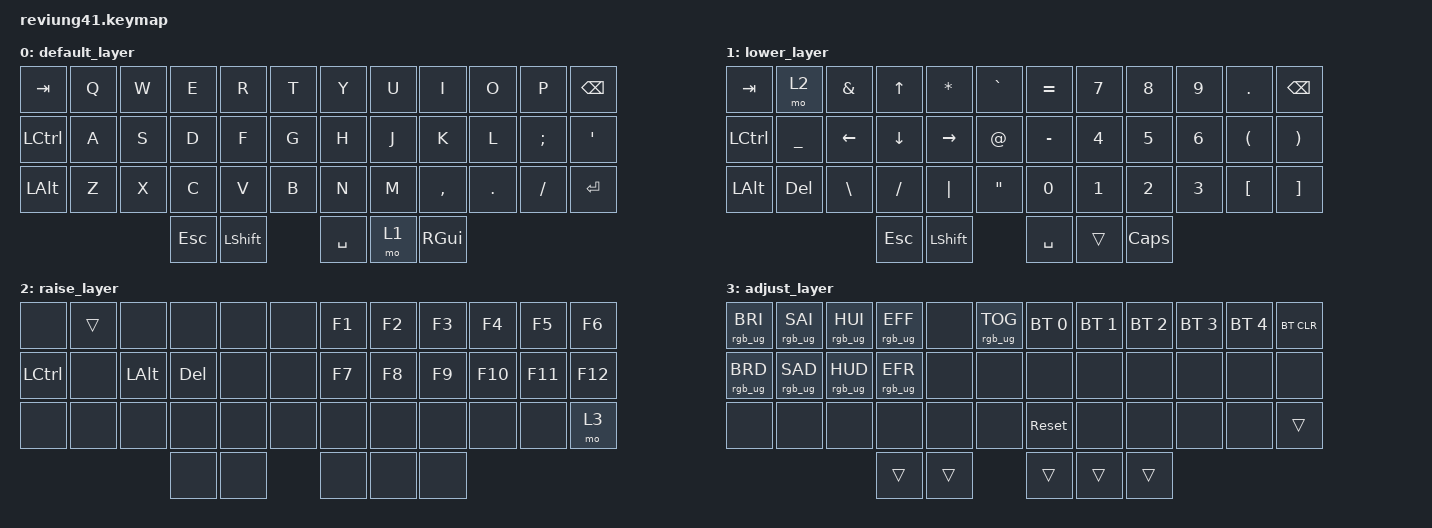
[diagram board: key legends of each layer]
/*
 * Copyright (c) 2020 The ZMK Contributors
 *
 * SPDX-License-Identifier: MIT
 */

#include <behaviors.dtsi>
#include <dt-bindings/zmk/keys.h>
#include <dt-bindings/zmk/bt.h>
#include <dt-bindings/zmk/rgb.h>

/ {
        keymap {
                compatible = "zmk,keymap";

                default_layer {
// -------------------------------------------------------------------------------------
// |  TAB |  Q  |  W  |  E  |  R  |  T  |   |  Y  |  U   |  I  |  O  |  P  |  BKSP  |
// | CTRL |  A  |  S  |  D  |  F  |  G  |   |  H  |  J   |  K  |  L  |  ;  |    '   |
// | SHFT |  Z  |  X  |  C  |  V  |  B  |   |  N  |  M   |  ,  |  .  |  /  |  ENTER |
//                        | ESC | SHFT | SPC | LWR  | WIN |
                        bindings = <
   &kp TAB   &kp Q &kp W &kp E &kp R &kp T   &kp Y &kp U  &kp I     &kp O   &kp P    &kp BSPC
   &kp LCTRL &kp A &kp S &kp D &kp F &kp G   &kp H &kp J  &kp K     &kp L   &kp SEMI &kp SQT
   &kp LALT  &kp Z &kp X &kp C &kp V &kp B   &kp N &kp M  &kp COMMA &kp DOT &kp FSLH &kp ENTER
                        &kp ESC &kp LSHFT &kp SPACE &mo 1  &kp RGUI
                        >;
                };

                lower_layer {
// ----------------------------------------------------------------------------------
// | TAB  | RSE |  &  |  UP |  *  |  ~  |   |  =  |  7  |  8  |  9  |  .  | BKSP |
// | CTRL |  _  | LFT | DWN | RGT |  @  |   |  -  |  4  |  5  |  6  |  (  |  )   |
// | ALT  | DEL |  \  |  /  | "|" |  "  |   |  0  |  1  |  2  |  3  |  [  |  ]   |
//                       | ESC  | SHFT | SPC |      | CAPS |
                        bindings = <
   &kp TAB   &mo 2     &kp AMPS &kp UP   &kp ASTRK &kp GRAVE    &kp EQUAL &kp N7  &kp N8 &kp N9 &kp DOT  &kp BSPC
   &kp LCTRL &kp UNDER &kp LEFT &kp DOWN &kp RIGHT &kp AT       &kp MINUS &kp N4  &kp N5 &kp N6 &kp LPAR &kp RPAR
   &kp LALT  &kp DEL   &kp BSLH &kp FSLH &kp PIPE  &kp DQT      &kp N0    &kp N1  &kp N2 &kp N3 &kp LBKT &kp RBKT
                                 &kp ESC   &kp LSHFT     &kp SPACE     &trans       &kp CAPS
                        >;
                };

                raise_layer {
// -----------------------------------------------------------------------------------------
// |      |    |     |     |     |     |   | F1  | F2  | F3  | F4  | F5  | F6  |
// | CTRL |    | ALT | DEL |     |     |   | F7  | F8  | F9  | F10 | F11 | F12 |
// |      |    |     |     |     |     |   |     |     |     |     |     | ADJ |
//                       |     |     |       |    |     |
                        bindings = <
   &none     &trans &none    &none   &none  &none      &kp F1   &kp F2   &kp F3   &kp F4   &kp F5    &kp F6
   &kp LCTRL &none  &kp LALT &kp DEL &none  &none      &kp F7   &kp F8   &kp F9   &kp F10  &kp F11   &kp F12
   &none     &none  &none    &none   &none  &none      &none    &none    &none    &none    &none     &mo 3
                                &none      &none       &none        &none      &none
                        >;
                };

                adjust_layer {
// -----------------------------------------------------------------------------------------
// | RGB BRI+ | RGB SAT+ | RGB HUE+ | RGB ANI+ |    | RGB TOG |   |  BT1  | BT2 | BT3 | BT4 | BT5 | BT CLR |
// | RGB BRI- | RGB SAT- | RGB HUE- | RGB ANI- |    |         |   |       |     |     |     |     |        |
// |          |          |          |          |    |         |   | RESET |     |     |     |     |        |
//                                              |     |     |     |     |     |
                        bindings = <
   &rgb_ug RGB_BRI &rgb_ug RGB_SAI &rgb_ug RGB_HUI &rgb_ug RGB_EFF &none &rgb_ug RGB_TOG    &bt BT_SEL 0 &bt BT_SEL 1 &bt BT_SEL 2 &bt BT_SEL 3 &bt BT_SEL 4 &bt BT_CLR
   &rgb_ug RGB_BRD &rgb_ug RGB_SAD &rgb_ug RGB_HUD &rgb_ug RGB_EFR &none &none              &none        &none        &none        &none        &none        &none
   &none           &none           &none           &none           &none &none              &sys_reset       &none        &none        &none        &none        &trans
                                                             &trans      &trans       &trans        &trans      &trans
                        >;
                };
        };
};
